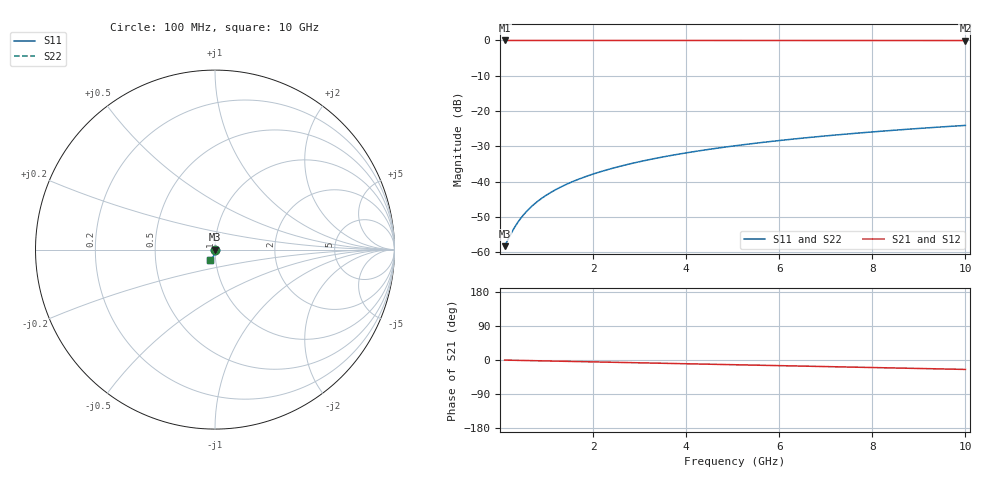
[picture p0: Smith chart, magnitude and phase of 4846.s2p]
# Hz S RI R 50.00
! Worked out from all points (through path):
!   100 points, 100 MHz to 10 GHz, reference 50 ohm
!   highest |S21| = -0.01 dB at 100 MHz (marker M1); lowest = 0.0 dB at 10 GHz (marker M2)
!   group delay of S21, straight-line fit = 6.91 ps
!   lowest |S11| = -58.2 dB at 100 MHz (marker M3), VSWR 1.00, Z = 50.1 - j0.0646 ohm
!   |S11| at or under -10 dB: start of sweep to end of sweep
!   |S22| runs from -58.2 to -24.0 dB; largest |S21 - S12| = 0
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1e8  0.00104 -0.000644  0.9989 -0.0043  0.9989 -0.0043  0.00104 -0.000644
2e8  0.00104 -0.00129  0.9989 -0.00861  0.9989 -0.00861  0.00104 -0.00129
3e8  0.00103 -0.00193  0.9988 -0.0129  0.9988 -0.0129  0.00103 -0.00193
4e8  0.00101 -0.00258  0.9988 -0.0172  0.9988 -0.0172  0.00101 -0.00258
5e8  0.000989 -0.00322  0.9987 -0.0215  0.9987 -0.0215  0.000989 -0.00322
6e8  0.000959 -0.00386  0.9986 -0.0258  0.9986 -0.0258  0.000959 -0.00386
7e8  0.000924 -0.00451  0.9984 -0.0301  0.9984 -0.0301  0.000924 -0.00451
9e8  0.000836 -0.0058  0.9981 -0.0387  0.9981 -0.0387  0.000836 -0.0058
1e9  0.000783 -0.00644  0.9979 -0.043  0.9979 -0.043  0.000783 -0.00644
1.2e9  0.000661 -0.00773  0.9975 -0.0516  0.9975 -0.0516  0.000661 -0.00773
1.5e9  0.000436 -0.00965  0.9967 -0.0645  0.9967 -0.0645  0.000436 -0.00965
1.8e9  0.00016 -0.0116  0.9958 -0.0774  0.9958 -0.0774  0.00016 -0.0116
2.1e9  -0.000166 -0.0135  0.9947 -0.0903  0.9947 -0.0903  -0.000166 -0.0135
2.5e9  -0.000678 -0.016  0.9929 -0.1075  0.9929 -0.1075  -0.000678 -0.016
2.9e9  -0.00128 -0.0186  0.9908 -0.1246  0.9908 -0.1246  -0.00128 -0.0186
3.4e9  -0.00215 -0.0217  0.9878 -0.146  0.9878 -0.146  -0.00215 -0.0217
4.2e9  -0.00383 -0.0266  0.982 -0.1801  0.982 -0.1801  -0.00383 -0.0266
5.1e9  -0.00613 -0.032  0.974 -0.2183  0.974 -0.2183  -0.00613 -0.032
5.9e9  -0.00853 -0.0367  0.9657 -0.2519  0.9657 -0.2519  -0.00853 -0.0367
6.7e9  -0.0112 -0.0412  0.9561 -0.2853  0.9561 -0.2853  -0.0112 -0.0412
8.4e9  -0.018 -0.05  0.9318 -0.3551  0.9318 -0.3551  -0.018 -0.05
1e10  -0.0255 -0.0573  0.9041 -0.4191  0.9041 -0.4191  -0.0255 -0.0573
